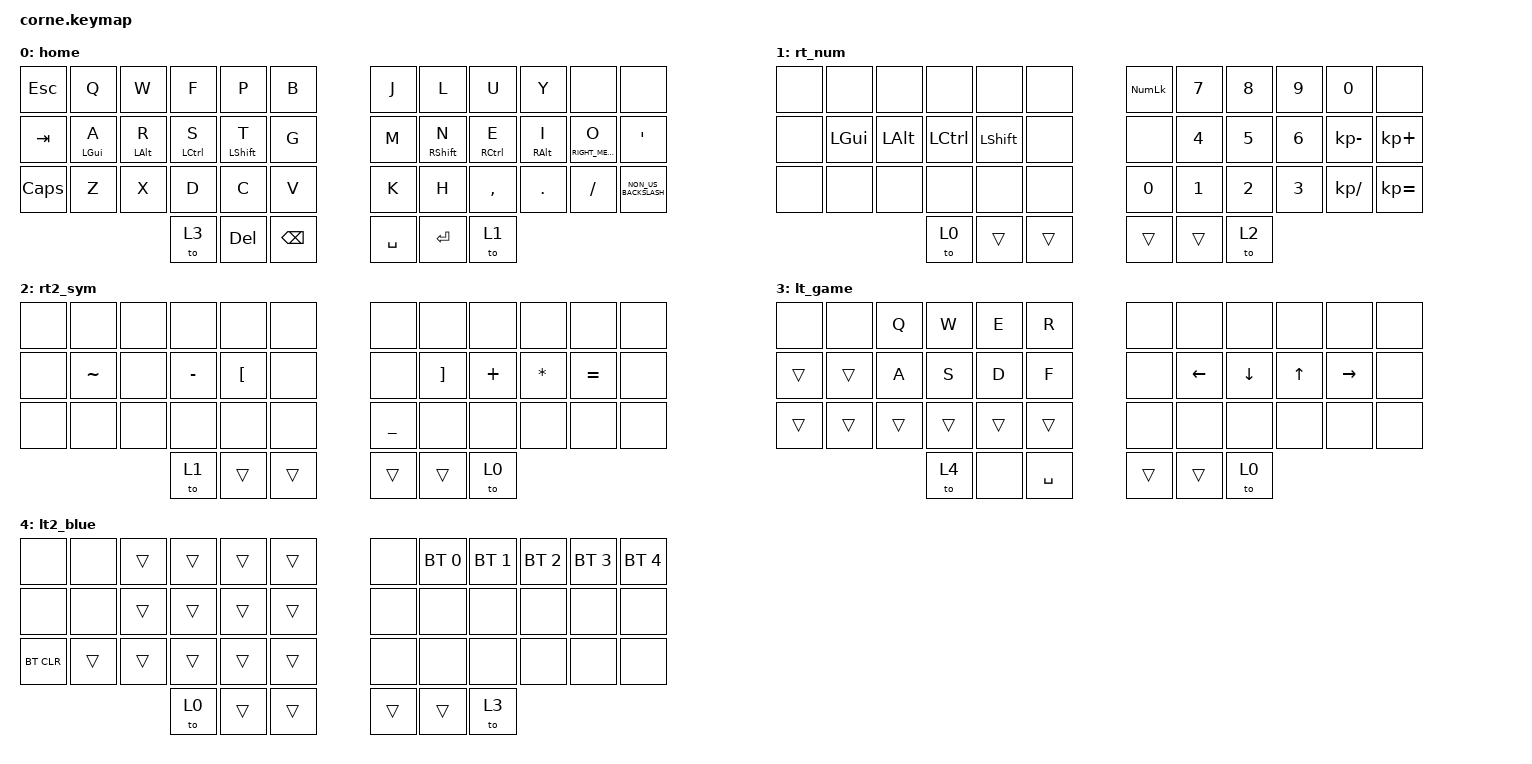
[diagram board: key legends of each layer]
/*
 * Copyright (c) 2020 The ZMK Contributors
 *
 * SPDX-License-Identifier: MIT
 */

#include <behaviors.dtsi>
#include <dt-bindings/zmk/bt.h>
#include <dt-bindings/zmk/keys.h>

/ {
    behaviors {
        hml: hml {
            compatible = "zmk,behavior-hold-tap";
            label = "Home Row Mod-Tap, Left";
            bindings = <&kp>, <&kp>;

            #binding-cells = <2>;
            tapping-term-ms = <280>;
            quick-tap-ms = <175>;
            flavor = "balanced";
            hold-trigger-key-positions = <36 37 38 39 40 41 6 7 8 9 10 11 18 19 20 21 22 23 30 31 32 33 34 35>;
            hold-trigger-on-release;
        };

        hmr: hmr {
            compatible = "zmk,behavior-hold-tap";
            label = "Home Row Mod-Tap, Right";
            bindings = <&kp>, <&kp>;

            #binding-cells = <2>;
            tapping-term-ms = <280>;
            quick-tap-ms = <175>;
            flavor = "balanced";
            hold-trigger-key-positions = <0 1 2 3 4 5 12 13 14 15 16 17 24 25 26 27 28 29 36 37 38 39 40 41>;
            hold-trigger-on-release;
        };
    };

    combos {
        compatible = "zmk,combos";

        combo_at {
            bindings = <&kp AT>;
            key-positions = <13 22>;
            timeout-ms = <50>;
            layers = <0>;
        };

        combo_colon {
            bindings = <&mt COLON SEMI>;
            key-positions = <33 32>;
            timeout-ms = <50>;
            layers = <0>;
        };

        combo_bang {
            bindings = <&kp EXCLAMATION>;
            key-positions = <34 33>;
        };

        combo_caret {
            bindings = <&kp CARET>;
            key-positions = <34 35>;
        };

        combo_dollar {
            bindings = <&kp DOLLAR>;
            key-positions = <15 21>;
        };
    };

    keymap {
        compatible = "zmk,keymap";

        home {
            // -----------------------------------------------------------------------------------------
            // |  TAB |  Q  |  W  |  E  |  R  |  T  |   |  Y  |  U   |  I  |  O  |  P  | BKSP |
            // | CTRL |  A  |  S  |  D  |  F  |  G  |   |  H  |  J   |  K  |  L  |  ;  |  '   |
            // | SHFT |  Z  |  X  |  C  |  V  |  B  |   |  N  |  M   |  ,  |  .  |  /  | ESC  |
            //                    | GUI | LWR | SPC |   | ENT | RSE  | ALT |

            bindings = <
&kp ESC       &kp Q            &kp W            &kp F                &kp P              &kp B            &kp J      &kp L               &kp U                 &kp Y             &none              &none
&kp TAB       &hml LEFT_GUI A  &hml LEFT_ALT R  &hml LEFT_CONTROL S  &hml LEFT_SHIFT T  &kp G            &kp M      &hmr RIGHT_SHIFT N  &hmr RIGHT_CONTROL E  &hmr RIGHT_ALT I  &hmr RIGHT_META O  &kp SQT
&kp CAPSLOCK  &kp Z            &kp X            &kp D                &kp C              &kp V            &kp K      &kp H               &kp COMMA             &kp DOT           &kp FSLH           &kp NON_US_BACKSLASH
                                                &to 3                &kp DELETE         &kp BACKSPACE    &kp SPACE  &kp RET             &to 1
            >;
        };

        rt_num {
            bindings = <
&none  &none         &none         &none             &none           &none     &kp KP_NUMLOCK  &kp NUMBER_7  &kp NUMBER_8  &kp NUMBER_9  &kp NUMBER_0     &none
&none  &kp LEFT_GUI  &kp LEFT_ALT  &kp LEFT_CONTROL  &kp LEFT_SHIFT  &none     &none           &kp NUMBER_4  &kp NUMBER_5  &kp NUMBER_6  &kp KP_SUBTRACT  &kp KP_PLUS
&none  &none         &none         &none             &none           &none     &kp N0          &kp NUMBER_1  &kp NUMBER_2  &kp NUMBER_3  &kp KP_DIVIDE    &kp KP_EQUAL
                                   &to 0             &trans          &trans    &trans          &trans        &to 2
            >;
        };

        rt2_sym {
            // -----------------------------------------------------------------------------------------
            // |  TAB |  !  |  @  |  #  |  $  |  %  |   |  ^  |  &  |  *  |  (  |  )  | BKSP |
            // | CTRL |     |     |     |     |     |   |  -  |  =  |  [  |  ]  |  \  |  `   |
            // | SHFT |     |     |     |     |     |   |  _  |  +  |  {  |  }  | "|" |  ~   |
            //                    | GUI |     | SPC |   | ENT |     | ALT |

            bindings = <
&none  &none      &none  &none      &none     &none     &none      &none     &none     &none         &none      &none
&none  &kp TILDE  &none  &kp MINUS  &kp LBKT  &none     &none      &kp RBKT  &kp PLUS  &kp ASTERISK  &kp EQUAL  &none
&none  &none      &none  &none      &none     &none     &kp UNDER  &none     &none     &none         &none      &none
                         &to 1      &trans    &trans    &trans     &trans    &to 0
            >;
        };

        lt_game {
            bindings = <
&none   &none   &kp Q   &kp W   &kp E   &kp R        &none   &none           &none           &none   &none      &none
&trans  &trans  &kp A   &kp S   &kp D   &kp F        &none   &kp LEFT_ARROW  &kp DOWN_ARROW  &kp UP  &kp RIGHT  &none
&trans  &trans  &trans  &trans  &trans  &trans       &none   &none           &none           &none   &none      &none
                        &to 4   &none   &kp SPACE    &trans  &trans          &to 0
            >;
        };

        lt2_blue {
            // -----------------------------------------------------------------------------------------
            // |  TAB |  1  |  2  |  3  |  4  |  5  |   |  6  |  7  |  8  |  9  |  0  | BKSP |
            // | BTCLR| BT1 | BT2 | BT3 | BT4 | BT5 |   | LFT | DWN |  UP | RGT |     |      |
            // | SHFT |     |     |     |     |     |   |     |     |     |     |     |      |
            //                    | GUI |     | SPC |   | ENT |     | ALT |

            bindings = <
&none       &none   &trans  &trans  &trans  &trans    &none   &bt BT_SEL 0  &bt BT_SEL 1  &bt BT_SEL 2  &bt BT_SEL 3  &bt BT_SEL 4
&none       &none   &trans  &trans  &trans  &trans    &none   &none         &none         &none         &none         &none
&bt BT_CLR  &trans  &trans  &trans  &trans  &trans    &none   &none         &none         &none         &none         &none
                            &to 0   &trans  &trans    &trans  &trans        &to 3
            >;
        };
    };
};
